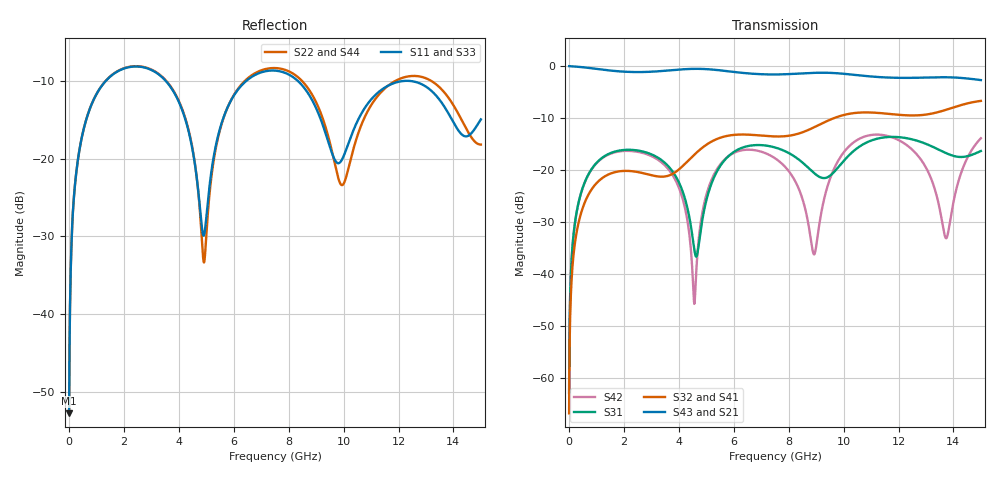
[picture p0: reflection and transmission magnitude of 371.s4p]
! Created with skrf 1.8.0 (http://scikit-rf.org).
# GHz S RI R 50.0
!freq ReS11 ImS11 ReS12 ImS12 ReS13 ImS13
! ReS14 ImS14
! ReS21 ImS21 ReS22 ImS22 ReS23 ImS23
! ReS24 ImS24
! ReS31 ImS31 ReS32 ImS32 ReS33 ImS33
! ReS34 ImS34
! ReS41 ImS41 ReS42 ImS42 ReS43 ImS43
! ReS44 ImS44
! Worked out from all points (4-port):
!   2499 points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, 5 MHz to 15 GHz, reference 50 ohm
!   strongest paths, dB at 5 MHz, 3.476 GHz, 7.19 GHz, 11.1 GHz, 15 GHz:
!     S43: 0.0, -0.9, -1.6, -2.0, -2.7
!     S21: 0.0, -0.9, -1.6, -2.0, -2.7
!     S32: -66.8, -21.2, -13.4, -9.0, -6.7
!     S41: -66.8, -21.2, -13.4, -8.9, -6.7
!     S31: -62.8, -18.5, -15.3, -14.1, -16.3
!     S42: -62.8, -19.0, -16.8, -13.2, -13.9
!   lowest |S11| = -52.8 dB at 5 MHz (marker M1), VSWR 1.00, Z = 50.2 + j0.139 ohm
!   |S11| at or under -10 dB: 3.53 GHz to 6.448 GHz (2.919 GHz wide, 58.5 % of centre); 8.339 GHz to 12.15 GHz (3.808 GHz wide, 37.2 % of centre); 12.46 GHz to end of sweep (the widest 3 of 4)
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0.005  0.00183 0.00139  0.9981 -0.00355  9.2e-05 0.000715  -8.93e-05 -0.00045
       0.9981 -0.00355  0.00183 0.00139  -8.93e-05 -0.00045  9.19e-05 0.000715
       9.2e-05 0.000715  -8.93e-05 -0.00045  0.00183 0.00139  0.9981 -0.00355
       -8.93e-05 -0.00045  9.19e-05 0.000715  0.9981 -0.00355  0.00183 0.00139
0.3626511  0.0362 0.1027  0.9498 -0.2527  0.0176 0.0473  -0.0143 -0.029
           0.9498 -0.2527  0.0363 0.1027  -0.0143 -0.029  0.0169 0.0475
           0.0176 0.0473  -0.0143 -0.029  0.0362 0.1027  0.9498 -0.2527
           -0.0143 -0.029  0.0169 0.0475  0.9498 -0.2527  0.0363 0.1027
1.77574  0.341 0.1319  0.3638 -0.8148  0.151 0.0253  -0.0937 0.0243
         0.3638 -0.8148  0.3434 0.1292  -0.0937 0.0242  0.1454 0.0379
         0.151 0.0253  -0.0937 0.0242  0.3411 0.1319  0.3637 -0.8148
         -0.0937 0.0243  0.1454 0.0379  0.3637 -0.8148  0.3435 0.1293
4.564402  0.0503 -0.0836  -0.8975 -0.2826  -0.0149 -0.00871  -0.0376 0.1356
          -0.8975 -0.2826  0.041 -0.0901  -0.038 0.1354  0.00515 0.000476
          -0.0149 -0.00871  -0.038 0.1354  0.0498 -0.085  -0.8973 -0.2827
          -0.0376 0.1356  0.00515 0.000476  -0.8973 -0.2827  0.0423 -0.0909
5.702376  0.1306 0.1511  -0.8051 0.3964  0.0999 0.0794  0.1196 0.1745
          -0.8051 0.3964  0.1235 0.1559  0.1192 0.1749  0.0962 0.0859
          0.0999 0.0794  0.1192 0.1749  0.1288 0.1507  -0.8053 0.3965
          0.1196 0.1745  0.0962 0.0859  -0.8053 0.3965  0.1242 0.154
9.910379  0.0959 0.0122  0.8427 0.0928  -0.031 0.1105  0.0278 -0.3322
          0.8427 0.0928  0.0666 -0.0137  0.0292 -0.332  0.0267 0.1341
          -0.031 0.1105  0.0292 -0.332  0.0961 0.0134  0.8429 0.0903
          0.0278 -0.3322  0.0267 0.1341  0.8429 0.0903  0.0661 -0.0131
15  0.1697 0.0579  -0.7295 -0.0787  -0.0526 0.1433  -0.0298 0.4605
    -0.7295 -0.0787  0.1215 -0.0212  -0.0344 0.4615  0.0714 0.1895
    -0.0526 0.1433  -0.0344 0.4615  0.1625 0.0617  -0.73 -0.0711
    -0.0298 0.4605  0.0714 0.1895  -0.73 -0.0711  0.1285 -0.0183
